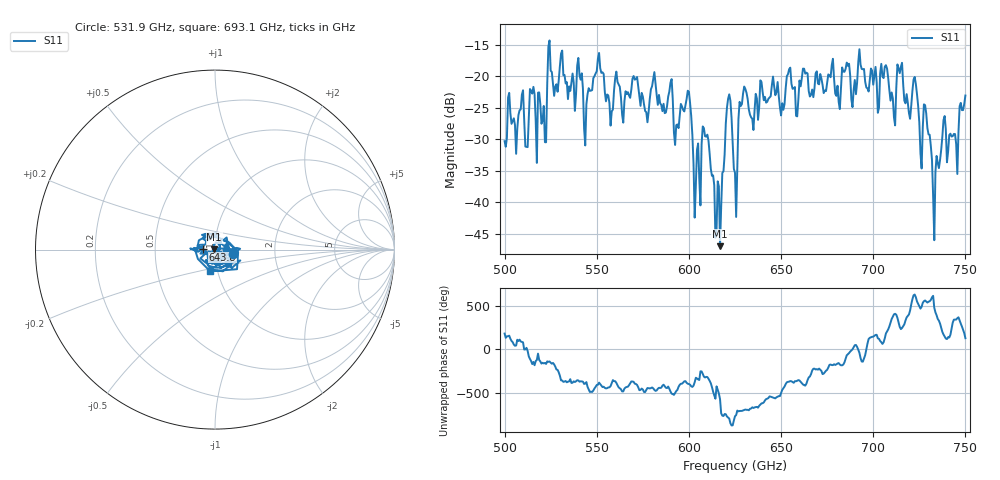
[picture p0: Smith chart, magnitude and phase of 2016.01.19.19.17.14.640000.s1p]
!Created with skrf (http://scikit-rf.org).
# GHz S RI R 50.0
!freq ReS11 ImS11
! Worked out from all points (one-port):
!   401 points, 500 GHz to 750 GHz, reference 50 ohm
!   lowest |S11| = -47.0 dB at 616.9 GHz (marker M1), VSWR 1.01, Z = 49.6 + j0.227 ohm
!   |S11| at or under -10 dB: start of sweep to end of sweep
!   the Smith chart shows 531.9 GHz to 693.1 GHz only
!   S11 on the Smith chart (normalised r, x): 531.9 GHz: 1.22, -0.06; 643.8 GHz: 0.87, +0.00; 693.1 GHz: 0.92, -0.23
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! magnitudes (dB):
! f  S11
! 500 GHz  -30.3
! 508.8 GHz  -25.2
! 511.9 GHz  -31.2
! 515 GHz  -22.7
! 521.2 GHz  -24.7
! 524.4 GHz  -14.3
! 531.2 GHz  -15.9
! 531.9 GHz  -19.8
! 543.8 GHz  -31.0
! 550.6 GHz  -17.2
! 562.5 GHz  -21.7
! 590 GHz  -21.0
! 593.8 GHz  -27.6
! 599.4 GHz  -22.3
! 603.1 GHz  -42.4
! 608.8 GHz  -29.5
! 616.9 GHz  -47.0
! 621.2 GHz  -23.6
! 625 GHz  -35.3
! 628.8 GHz  -24.4
! 643.8 GHz  -23.4
! 656.2 GHz  -22.0
! 687.5 GHz  -19.9
! 693.1 GHz  -18.2
! 718.8 GHz  -24.2
! 728.8 GHz  -25.9
! 733.8 GHz  -35.2
! 750 GHz  -23.0
